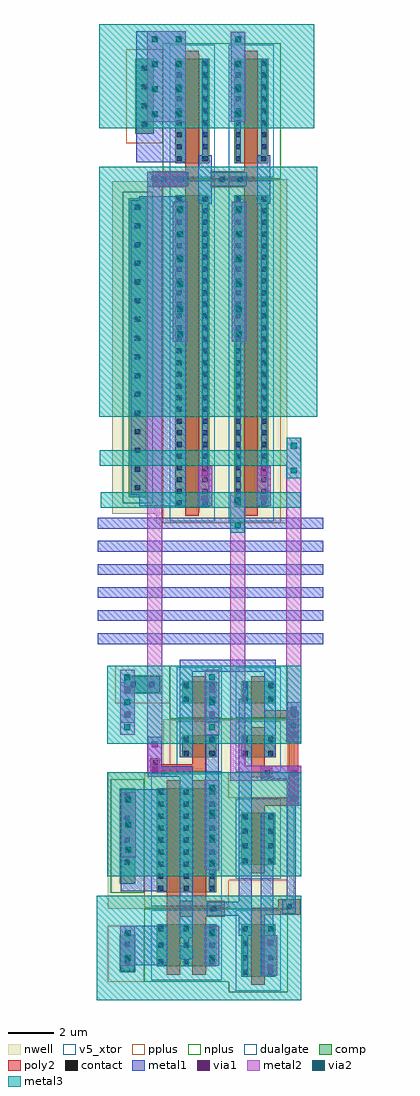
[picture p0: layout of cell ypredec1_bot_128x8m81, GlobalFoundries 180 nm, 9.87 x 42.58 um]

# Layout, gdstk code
import gdstk
lib = gdstk.Library(unit=1e-6, precision=1e-09)
def R(c, l, rs):  # rectangles x0, y0, x1, y1
    for r in rs: c.add(gdstk.rectangle(r[:2], r[2:], *l))
def A(c, l, x, y, w, h, nx, ny, dx, dy):  # array of equal rectangles
    R(c, l, [(x+i*dx, y+j*dy, x+i*dx+w, y+j*dy+h) for i in range(nx) for j in range(ny)])
def P(c, l, *ps):  # polygons
    for p in ps: c.add(gdstk.Polygon(p, *l))
nwell = (21, 0)
comp = (22, 0)
poly2 = (30, 0)
pplus = (31, 0)
nplus = (32, 0)
contact = (33, 0)
metal1 = (34, 0)
via1 = (35, 0)
metal2 = (36, 0)
via2 = (38, 0)
metal3 = (42, 0)
dualgate = (55, 0)
v5_xtor = (112, 1)

pmos_5p0431059054874_128 = lib.new_cell('pmos_5p0431059054874_128x8m81')
R(pmos_5p0431059054874_128, nwell, [(-1.04,-0.6,1.64,14.21)])
R(pmos_5p0431059054874_128, comp, [(-0.44,0,1.04,13.61), (-0.44,0,-0.08,13.61), (0.68,0,1.04,13.61)])
R(pmos_5p0431059054874_128, poly2, [(0,-0.22,0.6,13.83), (0,13.61,0.6,13.83)])
R(pmos_5p0431059054874_128, pplus, [(-0.6,-0.23,1.2,13.84)])
A(pmos_5p0431059054874_128, contact, -0.37, 0.07, 0.22, 0.22, 1, 25, 0, 0.51)
A(pmos_5p0431059054874_128, contact, 0.75, 0.07, 0.22, 0.22, 1, 25, 0, 0.51)
R(pmos_5p0431059054874_128, contact, [(-0.37,12.815,-0.15,13.035), (0.75,12.815,0.97,13.035), (-0.37,13.32,-0.15,13.54), (0.75,13.32,0.97,13.54)])
R(pmos_5p0431059054874_128, metal1, [(-0.375,0,-0.145,13.61), (-0.375,0,-0.145,13.61), (0.745,0,0.975,13.61), (0.745,0,0.975,13.61)])
R(pmos_5p0431059054874_128, dualgate, [(-0.68,-0.62,1.28,14.23)])
R(pmos_5p0431059054874_128, v5_xtor, [(-0.68,-0.62,1.28,14.23)])
pmos_5p0431059054874_128.add(gdstk.Label('S', (-0.26,6.805), layer=34, texttype=0))
pmos_5p0431059054874_128.add(gdstk.Label('D', (0.86,6.805), layer=34, texttype=0))

pmos_1p2__46887980_128x8 = lib.new_cell('pmos_1p2$$46887980_128x8m81')
R(pmos_1p2__46887980_128x8, nwell, [(-1.43,-0.71,1.72,14.31)])
R(pmos_1p2__46887980_128x8, poly2, [(-0.155,-0.37,0.44,-0.005), (-0.155,13.605,0.44,13.97)])
R(pmos_1p2__46887980_128x8, pplus, [(-1.145,-0.685,1.43,14.285)])
pmos_1p2__46887980_128x8.add(gdstk.Reference(pmos_5p0431059054874_128, (-0.155,0)))

m2_m1__34864172_128x8m81 = lib.new_cell('M2_M1$$34864172_128x8m81')
R(m2_m1__34864172_128x8m81, metal1, [(-0.85,-0.33,0.85,0.335)])
R(m2_m1__34864172_128x8m81, via1, [(-0.66,-0.13,-0.4,0.13), (0.4,-0.13,0.66,0.13)])
R(m2_m1__34864172_128x8m81, metal2, [(-0.845,-0.33,0.85,0.335)])

m1_poly2__46559276_128x8 = lib.new_cell('M1_POLY2$$46559276_128x8m81_0')
R(m1_poly2__46559276_128x8, poly2, [(-0.88,-0.345,0.88,0.345)])
R(m1_poly2__46559276_128x8, contact, [(-0.505,-0.11,-0.285,0.11), (0.285,-0.11,0.505,0.11)])
R(m1_poly2__46559276_128x8, metal1, [(-0.685,-0.3,0.685,0.3)])

m1_nwell__47822892_128x8 = lib.new_cell('M1_NWELL$$47822892_128x8m81')
R(m1_nwell__47822892_128x8, nwell, [(-1.105,-7.26,1.105,7.26)])
R(m1_nwell__47822892_128x8, comp, [(-0.385,-6.525,0.39,6.52)])
R(m1_nwell__47822892_128x8, nplus, [(-0.65,-6.795,0.655,6.795)])
A(m1_nwell__47822892_128x8, contact, -0.11, -6.23, 0.22, 0.22, 1, 5, 0, 0.815)
A(m1_nwell__47822892_128x8, contact, -0.11, -2.15, 0.22, 0.22, 1, 3, 0, 0.815)
A(m1_nwell__47822892_128x8, contact, -0.11, 0.3, 0.22, 0.22, 1, 3, 0, 0.815)
A(m1_nwell__47822892_128x8, contact, -0.11, 2.75, 0.22, 0.22, 1, 5, 0, 0.815)
R(m1_nwell__47822892_128x8, metal1, [(-0.29,-6.42,0.29,6.42)])

m2_m1__43377708_128x8m81 = lib.new_cell('M2_M1$$43377708_128x8m81')
P(m2_m1__43377708_128x8m81, metal1, [(-0.29,-3.055),(-0.29,-3.05),(-0.32,-3.05),(-0.32,3.055),(0.32,3.055),(0.32,-3.05),(0.29,-3.05),(0.29,-3.055)])
A(m2_m1__43377708_128x8m81, via1, -0.13, -1.765, 0.26, 0.26, 1, 4, 0, 1.09)
R(m2_m1__43377708_128x8m81, via1, [(-0.13,-2.85,0.13,-2.59), (-0.13,2.59,0.13,2.85)])
R(m2_m1__43377708_128x8m81, metal2, [(-0.32,-3.055,0.32,3.055)])

m1_psub__47818796_128x8m = lib.new_cell('M1_PSUB$$47818796_128x8m81')
R(m1_psub__47818796_128x8m, comp, [(-0.395,-1.635,0.4,1.635)])
R(m1_psub__47818796_128x8m, pplus, [(-0.79,-2.045,0.795,2.045)])
R(m1_psub__47818796_128x8m, contact, [(-0.11,-1.335,0.11,-1.115), (-0.11,-0.52,0.11,-0.3), (-0.11,0.3,0.11,0.52), (-0.11,1.115,0.11,1.335)])
R(m1_psub__47818796_128x8m, metal1, [(-0.35,-1.59,0.355,1.59)])

m3_m2__47334444_128x8m81 = lib.new_cell('M3_M2$$47334444_128x8m81')
R(m3_m2__47334444_128x8m81, metal2, [(-0.32,-3.055,0.32,3.055)])
A(m3_m2__47334444_128x8m81, via2, -0.13, -1.765, 0.26, 0.26, 1, 4, 0, 1.09)
R(m3_m2__47334444_128x8m81, via2, [(-0.13,-2.85,0.13,-2.59), (-0.13,2.59,0.13,2.85)])
R(m3_m2__47334444_128x8m81, metal3, [(-0.325,-3.055,0.325,3.055)])

nmos_5p04310590548761_12 = lib.new_cell('nmos_5p04310590548761_128x8m81')
R(nmos_5p04310590548761_12, comp, [(-0.44,0,1.04,4.54), (-0.44,0,-0.08,4.54), (0.68,0,1.04,4.54)])
R(nmos_5p04310590548761_12, poly2, [(0,-0.22,0.6,4.76), (0,4.54,0.6,4.76)])
R(nmos_5p04310590548761_12, nplus, [(-0.6,-0.23,1.2,4.77)])
A(nmos_5p04310590548761_12, contact, -0.37, 0.07, 0.22, 0.22, 1, 5, 0, 0.525)
A(nmos_5p04310590548761_12, contact, 0.75, 0.07, 0.22, 0.22, 1, 5, 0, 0.525)
A(nmos_5p04310590548761_12, contact, -0.37, 2.69, 0.22, 0.22, 1, 4, 0, 0.52)
A(nmos_5p04310590548761_12, contact, 0.75, 2.69, 0.22, 0.22, 1, 4, 0, 0.52)
R(nmos_5p04310590548761_12, metal1, [(-0.375,0,-0.145,4.54), (-0.375,0,-0.145,4.54), (0.745,0,0.975,4.54), (0.745,0,0.975,4.54)])
R(nmos_5p04310590548761_12, dualgate, [(-0.68,-0.62,1.28,5.16)])
R(nmos_5p04310590548761_12, v5_xtor, [(-0.68,-0.62,1.28,5.16)])
nmos_5p04310590548761_12.add(gdstk.Label('S', (-0.26,2.27), layer=34, texttype=0))
nmos_5p04310590548761_12.add(gdstk.Label('D', (0.86,2.27), layer=34, texttype=0))

nmos_1p2__47514668_128x8 = lib.new_cell('nmos_1p2$$47514668_128x8m81')
R(nmos_1p2__47514668_128x8, poly2, [(-0.15,-0.365,0.44,0), (-0.15,4.535,0.44,4.9)])
R(nmos_1p2__47514668_128x8, nplus, [(-1.145,-0.68,1.43,5.215)])
nmos_1p2__47514668_128x8.add(gdstk.Reference(nmos_5p04310590548761_12, (-0.155,0)))

m3_m2__47333420_128x8m81 = lib.new_cell('M3_M2$$47333420_128x8m81')
R(m3_m2__47333420_128x8m81, metal2, [(-0.32,-1.965,0.32,1.96)])
A(m3_m2__47333420_128x8m81, via2, -0.13, -1.765, 0.26, 0.26, 1, 4, 0, 1.09)
R(m3_m2__47333420_128x8m81, metal3, [(-0.325,-1.965,0.325,1.965)])

m2_m1__43379756_128x8m81 = lib.new_cell('M2_M1$$43379756_128x8m81')
R(m2_m1__43379756_128x8m81, metal1, [(-0.32,-1.965,0.32,1.965)])
A(m2_m1__43379756_128x8m81, via1, -0.13, -1.765, 0.26, 0.26, 1, 4, 0, 1.09)
R(m2_m1__43379756_128x8m81, metal2, [(-0.32,-1.965,0.32,1.96)])

m1_poly24310590548732_12 = lib.new_cell('M1_POLY24310590548732_128x8m81')
R(m1_poly24310590548732_12, poly2, [(-0.21,-0.21,0.21,0.21)])
R(m1_poly24310590548732_12, contact, [(-0.11,-0.11,0.11,0.11)])
R(m1_poly24310590548732_12, metal1, [(-0.17,-0.17,0.17,0.17)])

nmos_5p0431059054878_128 = lib.new_cell('nmos_5p0431059054878_128x8m81')
R(nmos_5p0431059054878_128, comp, [(-0.44,0,1.04,0.96), (-0.44,0,-0.08,0.96), (0.68,0,1.04,0.96)])
R(nmos_5p0431059054878_128, poly2, [(0,-0.22,0.6,1.18), (0,0.96,0.6,1.18)])
R(nmos_5p0431059054878_128, nplus, [(-0.6,-0.23,1.2,1.19)])
R(nmos_5p0431059054878_128, contact, [(-0.37,0.07,-0.15,0.29), (0.75,0.07,0.97,0.29), (-0.37,0.67,-0.15,0.89), (0.75,0.67,0.97,0.89)])
R(nmos_5p0431059054878_128, metal1, [(-0.375,0,-0.145,0.96), (-0.375,0,-0.145,0.96), (0.745,0,0.975,0.96), (0.745,0,0.975,0.96)])
R(nmos_5p0431059054878_128, dualgate, [(-0.68,-0.62,1.28,1.58)])
R(nmos_5p0431059054878_128, v5_xtor, [(-0.68,-0.62,1.28,1.58)])
nmos_5p0431059054878_128.add(gdstk.Label('S', (-0.26,0.48), layer=34, texttype=0))
nmos_5p0431059054878_128.add(gdstk.Label('D', (0.86,0.48), layer=34, texttype=0))

m2_m1__43379756_153_128x = lib.new_cell('M2_M1$$43379756_153_128x8m81')
R(m2_m1__43379756_153_128x, metal1, [(-0.32,-1.965,0.32,1.965)])
A(m2_m1__43379756_153_128x, via1, -0.13, -1.765, 0.26, 0.26, 1, 4, 0, 1.09)
R(m2_m1__43379756_153_128x, metal2, [(-0.32,-1.965,0.32,1.965)])

pmos_5p04310590548762_12 = lib.new_cell('pmos_5p04310590548762_128x8m81')
R(pmos_5p04310590548762_12, nwell, [(-1.04,-0.6,2.76,5.14)])
A(pmos_5p04310590548762_12, comp, -0.44, 0, 0.36, 4.54, 3, 1, 1.12, 0)
R(pmos_5p04310590548762_12, comp, [(-0.44,0,2.16,4.54)])
R(pmos_5p04310590548762_12, poly2, [(0,-0.22,0.6,4.76), (1.12,-0.22,1.72,4.76), (0,4.54,0.6,4.76), (1.12,4.54,1.72,4.76)])
R(pmos_5p04310590548762_12, pplus, [(-0.6,-0.23,2.32,4.77)])
A(pmos_5p04310590548762_12, contact, -0.37, 0.07, 0.22, 0.22, 3, 5, 1.12, 0.525)
A(pmos_5p04310590548762_12, contact, -0.37, 2.69, 0.22, 0.22, 3, 4, 1.12, 0.52)
R(pmos_5p04310590548762_12, metal1, [(-0.375,0,-0.145,4.54), (-0.375,0,-0.145,4.54), (0.745,0,0.975,4.54), (0.745,0,0.975,4.54), (1.865,0,2.095,4.54), (1.865,0,2.095,4.54)])
R(pmos_5p04310590548762_12, dualgate, [(-0.68,-0.62,2.4,5.16)])
R(pmos_5p04310590548762_12, v5_xtor, [(-0.68,-0.62,2.4,5.16)])
pmos_5p04310590548762_12.add(gdstk.Label('S', (-0.26,2.27), layer=34, texttype=0))
pmos_5p04310590548762_12.add(gdstk.Label('S', (1.98,2.27), layer=34, texttype=0))
pmos_5p04310590548762_12.add(gdstk.Label('D', (0.86,2.27), layer=34, texttype=0))

pmos_1p2__47331372_128x8 = lib.new_cell('pmos_1p2$$47331372_128x8m81')
R(pmos_1p2__47331372_128x8, nwell, [(-1.43,-0.71,2.84,5.24)])
R(pmos_1p2__47331372_128x8, poly2, [(-0.15,-0.37,0.44,-0.005), (0.97,-0.37,1.56,-0.005), (-0.15,4.535,0.44,4.895), (0.97,4.535,1.56,4.895)])
R(pmos_1p2__47331372_128x8, pplus, [(-1.14,-0.685,2.55,5.22)])
pmos_1p2__47331372_128x8.add(gdstk.Reference(pmos_5p04310590548762_12, (-0.155,0)))

m2_m1__43375660_154_128x = lib.new_cell('M2_M1$$43375660_154_128x8m81')
R(m2_m1__43375660_154_128x, metal1, [(-0.315,-0.88,0.32,0.875)])
R(m2_m1__43375660_154_128x, via1, [(-0.13,-0.675,0.13,-0.415), (-0.13,0.415,0.13,0.675)])
R(m2_m1__43375660_154_128x, metal2, [(-0.315,-0.88,0.32,0.875)])

m3_m2__47108140_149_128x = lib.new_cell('M3_M2$$47108140_149_128x8m81')
R(m3_m2__47108140_149_128x, metal2, [(-0.315,-1.42,0.32,1.42)])
A(m3_m2__47108140_149_128x, via2, -0.13, -1.22, 0.26, 0.26, 1, 3, 0, 1.09)
R(m3_m2__47108140_149_128x, metal3, [(-0.325,-1.42,0.325,1.42)])

m3_m2__43368492_151_128x = lib.new_cell('M3_M2$$43368492_151_128x8m81')
R(m3_m2__43368492_151_128x, metal2, [(-0.32,-0.88,0.32,0.875)])
R(m3_m2__43368492_151_128x, via2, [(-0.13,-0.675,0.13,-0.415), (-0.13,0.415,0.13,0.675)])
R(m3_m2__43368492_151_128x, metal3, [(-0.325,-0.88,0.325,0.88)])

m1_psub__45110316_128x8m = lib.new_cell('M1_PSUB$$45110316_128x8m81')
R(m1_psub__45110316_128x8m, comp, [(-0.79,-0.415,0.795,0.41)])
R(m1_psub__45110316_128x8m, pplus, [(-1.185,-0.82,1.19,0.82)])
R(m1_psub__45110316_128x8m, contact, [(-0.505,-0.11,-0.285,0.11), (0.285,-0.11,0.505,0.11)])
P(m1_psub__45110316_128x8m, metal1, [(-0.75,-0.37),(-0.75,0.095),(-0.745,0.095),(-0.745,0.365),(0.75,0.365),(0.75,-0.37)])

m3_m2__47333420_150_128x = lib.new_cell('M3_M2$$47333420_150_128x8m81')
R(m3_m2__47333420_150_128x, metal2, [(-0.32,-1.965,0.32,1.965)])
A(m3_m2__47333420_150_128x, via2, -0.13, -1.765, 0.26, 0.26, 1, 4, 0, 1.09)
R(m3_m2__47333420_150_128x, metal3, [(-0.325,-1.965,0.325,1.965)])

m1_poly2__44753964_155_1 = lib.new_cell('M1_POLY2$$44753964_155_128x8m81')
R(m1_poly2__44753964_155_1, poly2, [(-0.48,-0.345,0.485,0.34)])
R(m1_poly2__44753964_155_1, contact, [(-0.11,-0.11,0.11,0.11)])
R(m1_poly2__44753964_155_1, metal1, [(-0.285,-0.3,0.29,0.295)])

pmos_5p04310590548714_12 = lib.new_cell('pmos_5p04310590548714_128x8m81')
R(pmos_5p04310590548714_12, nwell, [(-1.04,-0.6,1.64,2.87)])
R(pmos_5p04310590548714_12, comp, [(-0.44,0,1.04,2.27), (-0.44,0,-0.08,2.27), (0.68,0,1.04,2.27)])
R(pmos_5p04310590548714_12, poly2, [(0,-0.22,0.6,2.49), (0,2.27,0.6,2.49)])
R(pmos_5p04310590548714_12, pplus, [(-0.6,-0.23,1.2,2.5)])
A(pmos_5p04310590548714_12, contact, -0.37, 0.71, 0.22, 0.22, 1, 3, 0, 0.635)
A(pmos_5p04310590548714_12, contact, 0.75, 0.71, 0.22, 0.22, 1, 3, 0, 0.635)
R(pmos_5p04310590548714_12, contact, [(-0.37,0.07,-0.15,0.29), (0.75,0.07,0.97,0.29)])
R(pmos_5p04310590548714_12, metal1, [(-0.375,0,-0.145,2.27), (-0.375,0,-0.145,2.27), (0.745,0,0.975,2.27), (0.745,0,0.975,2.27)])
R(pmos_5p04310590548714_12, dualgate, [(-0.68,-0.62,1.28,2.89)])
R(pmos_5p04310590548714_12, v5_xtor, [(-0.68,-0.62,1.28,2.89)])
pmos_5p04310590548714_12.add(gdstk.Label('S', (-0.26,1.135), layer=34, texttype=0))
pmos_5p04310590548714_12.add(gdstk.Label('D', (0.86,1.135), layer=34, texttype=0))

pmos_1p2__46285868_160_1 = lib.new_cell('pmos_1p2$$46285868_160_128x8m81')
R(pmos_1p2__46285868_160_1, nwell, [(-1.43,-0.71,1.72,2.975)])
R(pmos_1p2__46285868_160_1, poly2, [(-0.155,-0.37,0.44,-0.005), (-0.155,2.27,0.44,2.635)])
R(pmos_1p2__46285868_160_1, pplus, [(-1.145,-0.685,1.43,2.95)])
pmos_1p2__46285868_160_1.add(gdstk.Reference(pmos_5p04310590548714_12, (-0.155,0)))

nmos_5p04310590548710_12 = lib.new_cell('nmos_5p04310590548710_128x8m81')
R(nmos_5p04310590548710_12, comp, [(-0.44,0,1.04,2.27), (-0.44,0,-0.08,2.27), (0.68,0,1.04,2.27)])
R(nmos_5p04310590548710_12, poly2, [(0,-0.22,0.6,2.49), (0,2.27,0.6,2.49)])
R(nmos_5p04310590548710_12, nplus, [(-0.6,-0.23,1.2,2.5)])
A(nmos_5p04310590548710_12, contact, -0.37, 0.71, 0.22, 0.22, 1, 3, 0, 0.635)
A(nmos_5p04310590548710_12, contact, 0.75, 0.71, 0.22, 0.22, 1, 3, 0, 0.635)
R(nmos_5p04310590548710_12, contact, [(-0.37,0.07,-0.15,0.29), (0.75,0.07,0.97,0.29)])
R(nmos_5p04310590548710_12, metal1, [(-0.375,0,-0.145,2.27), (-0.375,0,-0.145,2.27), (0.745,0,0.975,2.27), (0.745,0,0.975,2.27)])
R(nmos_5p04310590548710_12, dualgate, [(-0.68,-0.62,1.28,2.89)])
R(nmos_5p04310590548710_12, v5_xtor, [(-0.68,-0.62,1.28,2.89)])
nmos_5p04310590548710_12.add(gdstk.Label('S', (-0.26,1.135), layer=34, texttype=0))
nmos_5p04310590548710_12.add(gdstk.Label('D', (0.86,1.135), layer=34, texttype=0))

nmos_1p2__46551084_157_1 = lib.new_cell('nmos_1p2$$46551084_157_128x8m81')
R(nmos_1p2__46551084_157_1, poly2, [(-0.155,-0.37,0.44,-0.005), (-0.155,2.27,0.44,2.635)])
R(nmos_1p2__46551084_157_1, nplus, [(-1.145,-0.685,1.43,2.95)])
nmos_1p2__46551084_157_1.add(gdstk.Reference(nmos_5p04310590548710_12, (-0.155,0)))

pmos_5p04310590548741_12 = lib.new_cell('pmos_5p04310590548741_128x8m81')
R(pmos_5p04310590548741_12, nwell, [(-1.04,-0.6,1.64,1.56)])
R(pmos_5p04310590548741_12, comp, [(-0.44,0,1.04,0.96), (-0.44,0,-0.08,0.96), (0.68,0,1.04,0.96)])
R(pmos_5p04310590548741_12, poly2, [(0,-0.22,0.6,1.18), (0,0.96,0.6,1.18)])
R(pmos_5p04310590548741_12, pplus, [(-0.6,-0.23,1.2,1.19)])
R(pmos_5p04310590548741_12, contact, [(-0.37,0.07,-0.15,0.29), (0.75,0.07,0.97,0.29), (-0.37,0.67,-0.15,0.89), (0.75,0.67,0.97,0.89)])
R(pmos_5p04310590548741_12, metal1, [(-0.375,0,-0.145,0.96), (-0.375,0,-0.145,0.96), (0.745,0,0.975,0.96), (0.745,0,0.975,0.96)])
R(pmos_5p04310590548741_12, dualgate, [(-0.68,-0.62,1.28,1.58)])
R(pmos_5p04310590548741_12, v5_xtor, [(-0.68,-0.62,1.28,1.58)])
pmos_5p04310590548741_12.add(gdstk.Label('S', (-0.26,0.48), layer=34, texttype=0))
pmos_5p04310590548741_12.add(gdstk.Label('D', (0.86,0.48), layer=34, texttype=0))

pmos_1p2__47330348_161_1 = lib.new_cell('pmos_1p2$$47330348_161_128x8m81')
R(pmos_1p2__47330348_161_1, nwell, [(-1.43,-0.705,1.72,1.61)])
R(pmos_1p2__47330348_161_1, poly2, [(-0.15,-0.365,0.44,0), (-0.155,0.955,0.44,1.11)])
R(pmos_1p2__47330348_161_1, pplus, [(-1.145,-0.68,1.43,1.63)])
pmos_1p2__47330348_161_1.add(gdstk.Reference(pmos_5p04310590548741_12, (-0.155,0)))

nmos_5p04310590548763_12 = lib.new_cell('nmos_5p04310590548763_128x8m81')
A(nmos_5p04310590548763_12, comp, -0.44, 0, 0.36, 1.82, 3, 1, 1.12, 0)
R(nmos_5p04310590548763_12, comp, [(-0.44,0,2.16,1.82)])
R(nmos_5p04310590548763_12, poly2, [(0,-0.22,0.6,2.04), (1.12,-0.22,1.72,2.04), (0,1.82,0.6,2.04), (1.12,1.82,1.72,2.04)])
R(nmos_5p04310590548763_12, nplus, [(-0.6,-0.23,2.32,2.05)])
A(nmos_5p04310590548763_12, contact, -0.37, 0.07, 0.22, 0.22, 3, 3, 1.12, 0.73)
R(nmos_5p04310590548763_12, metal1, [(-0.375,0,-0.145,1.82), (-0.375,0,-0.145,1.82), (0.745,0,0.975,1.82), (0.745,0,0.975,1.82), (1.865,0,2.095,1.82), (1.865,0,2.095,1.82)])
R(nmos_5p04310590548763_12, dualgate, [(-0.68,-0.62,2.4,2.44)])
R(nmos_5p04310590548763_12, v5_xtor, [(-0.68,-0.62,2.4,2.44)])
nmos_5p04310590548763_12.add(gdstk.Label('S', (-0.26,0.91), layer=34, texttype=0))
nmos_5p04310590548763_12.add(gdstk.Label('S', (1.98,0.91), layer=34, texttype=0))
nmos_5p04310590548763_12.add(gdstk.Label('D', (0.86,0.91), layer=34, texttype=0))

nmos_1p2__47329324_128x8 = lib.new_cell('nmos_1p2$$47329324_128x8m81')
R(nmos_1p2__47329324_128x8, poly2, [(-0.15,-0.37,0.44,-0.005), (0.97,-0.37,1.56,-0.005), (-0.15,1.815,0.44,2.18), (0.965,1.815,1.56,2.155)])
R(nmos_1p2__47329324_128x8, nplus, [(-1.14,-0.685,2.55,2.495)])
nmos_1p2__47329324_128x8.add(gdstk.Reference(nmos_5p04310590548763_12, (-0.155,0)))

m2_m1__43380780_152_128x = lib.new_cell('M2_M1$$43380780_152_128x8m81')
R(m2_m1__43380780_152_128x, metal1, [(-0.315,-1.42,0.325,1.42)])
A(m2_m1__43380780_152_128x, via1, -0.13, -1.22, 0.26, 0.26, 1, 3, 0, 1.09)
R(m2_m1__43380780_152_128x, metal2, [(-0.315,-1.42,0.325,1.42)])

m1_poly24310590548739_12 = lib.new_cell('M1_POLY24310590548739_128x8m81')
R(m1_poly24310590548739_12, poly2, [(-0.21,-0.445,0.21,0.445)])
R(m1_poly24310590548739_12, contact, [(-0.11,-0.345,0.11,-0.125), (-0.11,0.125,0.11,0.345)])
R(m1_poly24310590548739_12, metal1, [(-0.17,-0.405,0.17,0.405)])

alatch_128x8m81 = lib.new_cell('alatch_128x8m81')
R(alatch_128x8m81, nwell, [(0.02,3.985,1.795,9.93)])
P(alatch_128x8m81, nwell, [(2.435,3.985),(2.435,9.93),(2.44,9.93),(2.44,12.245),(8.15,12.245),(8.15,3.985)])
R(alatch_128x8m81, comp, [(0.55,1.195,1.215,2.835), (0.55,5.075,1.215,9.23)])
R(alatch_128x8m81, poly2, [(6.28,9.72,6.88,10.435), (3.71,11.695,4.31,12.79)])
P(alatch_128x8m81, poly2, [(1.875,9.98),(1.875,10.28),(3.71,10.28),(3.71,10.635),(4.31,10.635),(4.31,9.98)],
  [(2.59,3.44),(2.59,4.54),(3.19,4.54),(3.19,4.32),(3.71,4.32),(3.71,4.54),(4.31,4.54),(4.31,4.32),(5.12,4.32),(5.12,3.635),(4.31,3.635),(4.31,3.44),(3.71,3.44),(3.71,3.635),(3.19,3.635),(3.19,3.44)],
  [(6.28,3.28),(6.28,4.015),(7.445,4.015),(7.445,4.02),(7.93,4.02),(7.93,3.715),(6.88,3.715),(6.88,3.28)],
  [(6.28,8.315),(6.28,8.81),(7.91,8.81),(7.91,12.305),(6.28,12.305),(6.28,12.94),(6.88,12.94),(6.88,12.635),(8.33,12.635),(8.33,8.465),(6.88,8.465),(6.88,8.315)])
R(alatch_128x8m81, pplus, [(0.02,0.79,1.61,3.245)])
R(alatch_128x8m81, nplus, [(0.155,4.665,1.61,9.635), (2.725,12.26,5.295,14.58), (5.295,12.26,7.865,14.58)])
A(alatch_128x8m81, contact, 0.77, 6.85, 0.22, 0.22, 1, 3, 0, 0.965)
R(alatch_128x8m81, contact, [(0.77,1.5,0.99,1.72), (0.77,2.315,0.99,2.535), (0.77,5.89,0.99,6.11)])
R(alatch_128x8m81, metal1, [(3.16,1.765,3.74,2.365), (0.595,4.735,2.62,9.185), (7.845,12.01,8.425,12.61)])
P(alatch_128x8m81, metal1, [(5.73,2.805),(5.73,3.675),(5.725,3.675),(5.725,3.68),(4.35,3.68),(4.35,4.275),(5.73,4.275),(5.73,13.14),(6.31,13.14),(6.31,2.805)],
  [(4.275,8.77),(4.275,9.58),(4.28,9.58),(4.28,11.54),(4.86,11.54),(4.86,8.77)],
  [(7.815,3.76),(7.815,4.355),(7.82,4.355),(7.82,9.63),(6.7,9.63),(6.7,10.225),(8.22,10.225),(8.22,9.245),(8.45,9.245),(8.45,8.645),(8.22,8.645),(8.22,3.76)],
  [(3.16,2.695),(3.16,9.73),(1.795,9.73),(1.795,10.195),(2.4,10.195),(2.4,10.19),(3.74,10.19),(3.74,2.695)],
  [(6.7,1.06),(6.7,8.165),(7.25,8.165),(7.25,2.365),(7.375,2.365),(7.375,1.765),(7.25,1.765),(7.25,1.06)],
  [(0.595,1.24),(0.595,1.49),(0.59,1.49),(0.59,3.245),(2.62,3.245),(2.62,1.515),(1.17,1.515),(1.17,1.24)],
  [(3.16,10.58),(3.16,14.84),(7.36,14.84),(7.36,10.58),(6.85,10.58),(6.85,14.32),(3.74,14.32),(3.74,10.58)])
R(alatch_128x8m81, metal3, [(-0.45,-0.005,8.46,4.535), (-0.005,5.39,8.46,9.93), (-0.005,11.17,8.46,14.58)])
alatch_128x8m81.add(gdstk.Reference(m1_poly24310590548732_12, (2.085,10.34)))
alatch_128x8m81.add(gdstk.Reference(m1_poly24310590548732_12, (6.985,9.93)))
alatch_128x8m81.add(gdstk.Reference(nmos_5p0431059054878_128, (6.28,13.895), x_reflection=True))
alatch_128x8m81.add(gdstk.Reference(nmos_5p0431059054878_128, (3.71,13.895), x_reflection=True))
alatch_128x8m81.add(gdstk.Reference(m2_m1__43379756_153_128x, (4.57,7.615)))
alatch_128x8m81.add(gdstk.Reference(pmos_1p2__47331372_128x8, (2.745,4.695)))
alatch_128x8m81.add(gdstk.Reference(m2_m1__43375660_154_128x, (4.57,2.37)))
alatch_128x8m81.add(gdstk.Reference(m2_m1__43375660_154_128x, (0.88,12.98)))
alatch_128x8m81.add(gdstk.Reference(m2_m1__43375660_154_128x, (4.57,12.98)))
alatch_128x8m81.add(gdstk.Reference(m2_m1__43375660_154_128x, (0.89,2.37)))
alatch_128x8m81.add(gdstk.Reference(m2_m1__43375660_154_128x, (7.105,1.94)))
alatch_128x8m81.add(gdstk.Reference(m2_m1__43375660_154_128x, (8.135,9.35)))
alatch_128x8m81.add(gdstk.Reference(m2_m1__43375660_154_128x, (8.135,12.115)))
alatch_128x8m81.add(gdstk.Reference(m3_m2__47108140_149_128x, (4.57,12.98)))
alatch_128x8m81.add(gdstk.Reference(m3_m2__47108140_149_128x, (0.88,12.98)))
alatch_128x8m81.add(gdstk.Reference(m3_m2__47108140_149_128x, (0.91,7.64)))
alatch_128x8m81.add(gdstk.Reference(m3_m2__43368492_151_128x, (0.89,2.37)))
alatch_128x8m81.add(gdstk.Reference(m3_m2__43368492_151_128x, (4.57,2.37)))
alatch_128x8m81.add(gdstk.Reference(m1_psub__45110316_128x8m, (1.535,13.76)))
alatch_128x8m81.add(gdstk.Reference(m3_m2__47333420_150_128x, (4.57,7.615)))
alatch_128x8m81.add(gdstk.Reference(m1_poly2__44753964_155_1, (7.93,4.06)))
alatch_128x8m81.add(gdstk.Reference(m1_poly2__44753964_155_1, (4.635,3.98)))
alatch_128x8m81.add(gdstk.Reference(pmos_1p2__46285868_160_1, (6.435,5.895)))
alatch_128x8m81.add(gdstk.Reference(nmos_1p2__46551084_157_1, (6.435,1.02)))
alatch_128x8m81.add(gdstk.Reference(pmos_1p2__47330348_161_1, (3.865,11.54), x_reflection=True))
alatch_128x8m81.add(gdstk.Reference(pmos_1p2__47330348_161_1, (6.435,11.54), x_reflection=True))
alatch_128x8m81.add(gdstk.Reference(nmos_1p2__47329324_128x8, (2.745,1.475)))
alatch_128x8m81.add(gdstk.Reference(m2_m1__43380780_152_128x, (0.91,7.64)))
alatch_128x8m81.add(gdstk.Reference(m1_poly24310590548739_12, (8.12,12.195)))
alatch_128x8m81.add(gdstk.Label('vss', (1.01,12.92), layer=42, texttype=10))
alatch_128x8m81.add(gdstk.Label('vss', (0.66,1.835), layer=42, texttype=10))
alatch_128x8m81.add(gdstk.Label('vdd', (0.78,7.49), layer=42, texttype=10))
alatch_128x8m81.add(gdstk.Label('enb', (8.135,12.31), layer=34, texttype=10))
alatch_128x8m81.add(gdstk.Label('en', (8.16,8.945), layer=34, texttype=10))
alatch_128x8m81.add(gdstk.Label('ab', (3.45,2.065), layer=34, texttype=10))
alatch_128x8m81.add(gdstk.Label('a', (7.08,2.065), layer=34, texttype=10))

m3_m2__43368492_128x8m81 = lib.new_cell('M3_M2$$43368492_128x8m81_0')
R(m3_m2__43368492_128x8m81, metal2, [(-0.315,-0.875,0.31,0.88)])
R(m3_m2__43368492_128x8m81, via2, [(-0.13,-0.675,0.13,-0.415), (-0.13,0.415,0.13,0.675)])
R(m3_m2__43368492_128x8m81, metal3, [(-0.315,-0.88,0.315,0.88)])

m2_m1__43375660_128x8m81 = lib.new_cell('M2_M1$$43375660_128x8m81')
R(m2_m1__43375660_128x8m81, metal1, [(-0.31,-0.875,0.31,0.875)])
R(m2_m1__43375660_128x8m81, via1, [(-0.13,-0.675,0.13,-0.415), (-0.13,0.415,0.13,0.675)])
R(m2_m1__43375660_128x8m81, metal2, [(-0.31,-0.875,0.31,0.875)])

ypredec1_bot_128x8m81 = lib.new_cell('ypredec1_bot_128x8m81')
P(ypredec1_bot_128x8m81, poly2, [(3.755,32.095),(3.755,32.3),(3.75,32.3),(3.75,32.99),(3.755,32.99),(3.755,33.195),(4.35,33.195),(4.35,32.095)],
  [(6.325,32.095),(6.325,32.3),(6.32,32.3),(6.32,32.99),(6.325,32.99),(6.325,33.195),(6.92,33.195),(6.92,32.095)])
R(ypredec1_bot_128x8m81, metal1, [(-0.07,12.36,9.765,12.825), (-0.07,13.37,9.765,13.835), (-0.07,14.38,9.765,14.84), (-0.07,15.39,9.765,15.85), (-0.07,16.395,9.765,16.86), (-0.07,17.405,9.765,17.87), (6.895,31.575,7.47,33.695)])
P(ypredec1_bot_128x8m81, metal1, [(4.325,31.575),(4.325,33.695),(4.9,33.695),(4.9,32.945),(6.44,32.945),(6.44,32.345),(4.9,32.345),(4.9,31.575)],
  [(1.755,18.38),(1.755,18.88),(1.75,18.88),(1.75,31.72),(1.755,31.72),(1.755,31.9),(3.78,31.9),(3.78,18.38)],
  [(1.625,33.39),(1.625,38.35),(1.62,38.35),(1.62,39.09),(3.78,39.09),(3.78,33.39)])
R(ypredec1_bot_128x8m81, metal2, [(2.105,6.795,2.75,32.98), (8.165,8.075,8.81,20.285), (2.105,35.155,3.78,39.09)])
P(ypredec1_bot_128x8m81, metal2, [(5.72,6.4),(5.72,18.98),(6.36,18.98),(6.36,7.065),(8.81,7.065),(8.81,6.4)])
R(ypredec1_bot_128x8m81, metal3, [(0.075,18.31,8.8,18.98), (0.03,20.15,8.805,20.815), (0,22.29,9.505,33.18), (0,34.875,9.38,39.415)])
ypredec1_bot_128x8m81.add(gdstk.Reference(pmos_1p2__46887980_128x8, (3.91,18.34)))
ypredec1_bot_128x8m81.add(gdstk.Reference(pmos_1p2__46887980_128x8, (6.48,18.34)))
ypredec1_bot_128x8m81.add(gdstk.Reference(m2_m1__34864172_128x8m81, (2.955,32.645)))
ypredec1_bot_128x8m81.add(gdstk.Reference(m1_poly2__46559276_128x8, (3.205,32.645)))
ypredec1_bot_128x8m81.add(gdstk.Reference(m1_poly2__46559276_128x8, (5.755,32.645)))
ypredec1_bot_128x8m81.add(gdstk.Reference(m1_nwell__47822892_128x8, (1.67,25.3)))
ypredec1_bot_128x8m81.add(gdstk.Reference(m2_m1__43377708_128x8m81, (3.525,28.61)))
ypredec1_bot_128x8m81.add(gdstk.Reference(m2_m1__43377708_128x8m81, (6.095,28.61)))
ypredec1_bot_128x8m81.add(gdstk.Reference(m1_psub__47818796_128x8m, (1.975,36.26)))
ypredec1_bot_128x8m81.add(gdstk.Reference(m3_m2__47334444_128x8m81, (3.525,28.61)))
ypredec1_bot_128x8m81.add(gdstk.Reference(m3_m2__47334444_128x8m81, (6.095,28.61)))
ypredec1_bot_128x8m81.add(gdstk.Reference(nmos_1p2__47514668_128x8, (3.91,33.35)))
ypredec1_bot_128x8m81.add(gdstk.Reference(nmos_1p2__47514668_128x8, (6.48,33.35)))
ypredec1_bot_128x8m81.add(gdstk.Reference(m3_m2__47333420_128x8m81, (6.06,37.12)))
ypredec1_bot_128x8m81.add(gdstk.Reference(m3_m2__47333420_128x8m81, (3.46,37.12)))
ypredec1_bot_128x8m81.add(gdstk.Reference(m3_m2__47333420_128x8m81, (2.425,37.12)))
ypredec1_bot_128x8m81.add(gdstk.Reference(m2_m1__43379756_128x8m81, (6.06,37.12)))
ypredec1_bot_128x8m81.add(gdstk.Reference(m2_m1__43379756_128x8m81, (3.46,37.12)))
ypredec1_bot_128x8m81.add(gdstk.Reference(m2_m1__43379756_128x8m81, (2.425,37.12)))
ypredec1_bot_128x8m81.add(gdstk.Reference(alatch_128x8m81, (0.35,-3.16)))
ypredec1_bot_128x8m81.add(gdstk.Reference(m3_m2__43368492_128x8m81, (6.04,18.1)))
ypredec1_bot_128x8m81.add(gdstk.Reference(m3_m2__43368492_128x8m81, (8.49,20.48)))
ypredec1_bot_128x8m81.add(gdstk.Reference(m2_m1__43375660_128x8m81, (7.18,19.26)))
ypredec1_bot_128x8m81.add(gdstk.Reference(m2_m1__43375660_128x8m81, (4.61,19.26)))
ypredec1_bot_128x8m81.add(gdstk.Reference(m2_m1__43375660_128x8m81, (2.425,7.445)))

lib.write_gds('ypredec1_bot_128x8m81.gds')
